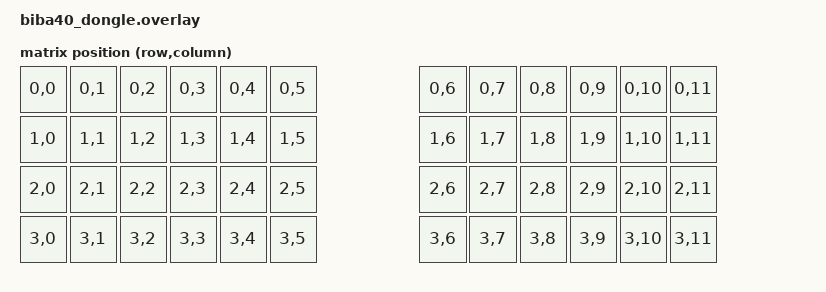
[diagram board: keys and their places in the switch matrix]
#include <dt-bindings/zmk/matrix_transform.h>
#include <physical_layouts.dtsi>

/ {
    chosen {
        zmk,kscan = &mock_kscan;
        zmk,physical_layout = &biba40_layout;
    };

    /* Dongle has no keys */
    mock_kscan: mock_kscan_0 {
        compatible = "zmk,kscan-mock";
        columns = <0>;
        rows = <0>;
        events = <0>;
    };

    /* Copy of your matrix transform, but self-contained for the dongle build */
    default_transform: keymap_transform_0 {
        compatible = "zmk,matrix-transform";
        columns = <12>;
        rows = <4>;
        map = <
            RC(0,0) RC(0,1) RC(0,2) RC(0,3) RC(0,4) RC(0,5)                 RC(0,6) RC(0,7) RC(0,8) RC(0,9) RC(0,10) RC(0,11)
            RC(1,0) RC(1,1) RC(1,2) RC(1,3) RC(1,4) RC(1,5)                 RC(1,6) RC(1,7) RC(1,8) RC(1,9) RC(1,10) RC(1,11)
            RC(2,0) RC(2,1) RC(2,2) RC(2,3) RC(2,4) RC(2,5)                 RC(2,6) RC(2,7) RC(2,8) RC(2,9) RC(2,10) RC(2,11)
            RC(3,0) RC(3,1) RC(3,2) RC(3,3) RC(3,4) RC(3,5)                 RC(3,6) RC(3,7) RC(3,8) RC(3,9) RC(3,10) RC(3,11)
        >;
    };

    biba40_layout: biba40_layout_0 {
        compatible = "zmk,physical-layout";
        display-name = "Biba40";

        transform = <&default_transform>;
        kscan = <&mock_kscan>;

        /* 48 keys (4x12). Coordinates are arbitrary but consistent. */
        keys = <
            0   0   100 0   200 0   300 0   400 0   500 0   600 0   700 0   800 0   900 0   1000 0  1100 0
            0 100   100 100 200 100 300 100 400 100 500 100 600 100 700 100 800 100 900 100 1000 100 1100 100
            0 200   100 200 200 200 300 200 400 200 500 200 600 200 700 200 800 200 900 200 1000 200 1100 200
            0 300   100 300 200 300 300 300 400 300 500 300 600 300 700 300 800 300 900 300 1000 300 1100 300
        >;
    };
};
